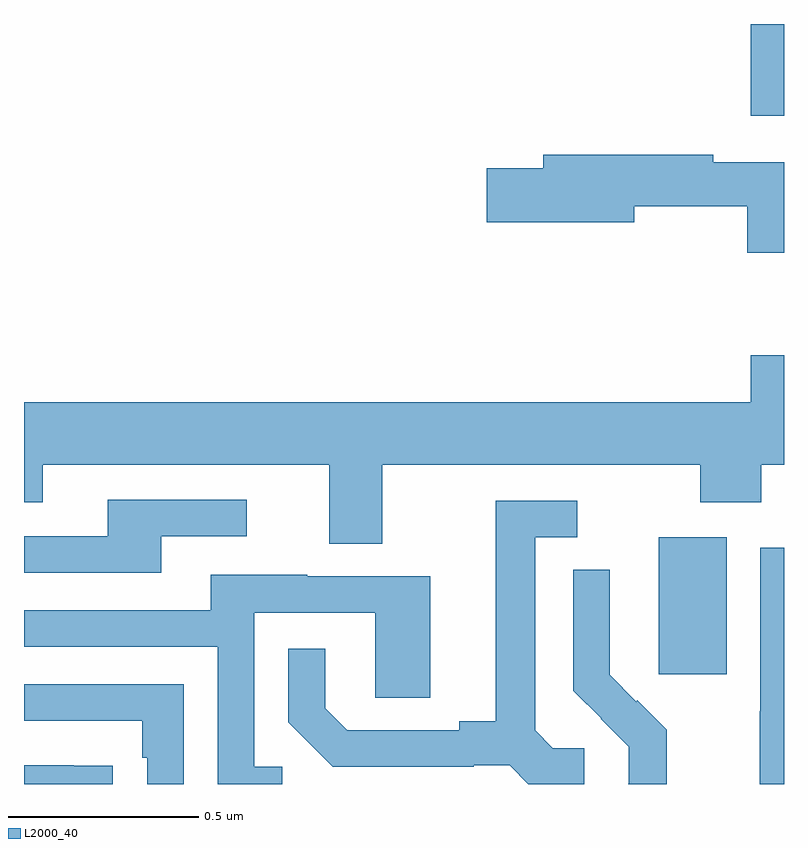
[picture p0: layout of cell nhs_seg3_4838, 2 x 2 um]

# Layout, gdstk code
import gdstk
lib = gdstk.Library(unit=1e-6, precision=1e-09)
def R(c, l, rs):  # rectangles x0, y0, x1, y1
    for r in rs: c.add(gdstk.rectangle(r[:2], r[2:], *l))
def P(c, l, *ps):  # polygons
    for p in ps: c.add(gdstk.Polygon(p, *l))
L2000_40 = (2000, 40)

nhs_seg3_4838 = lib.new_cell('nhs_seg3_4838')
R(nhs_seg3_4838, L2000_40, [(172.67,709.689,172.849,710.05), (172.913,711.158,173,711.4)])
P(nhs_seg3_4838, L2000_40, [(173,711.036),(172.814,711.036),(172.814,711.056),(172.367,711.056),(172.367,711.02),(172.218,711.02),(172.218,710.878),(172.606,710.878),(172.606,710.92),(172.903,710.92),(172.903,710.798),(173,710.798)],
  [(171,710.141),(171.049,710.141),(171.049,710.24),(171.803,710.24),(171.803,710.032),(171.943,710.032),(171.943,710.24),(172.78,710.24),(172.78,710.141),(172.94,710.141),(172.94,710.24),(173,710.24),(173,710.528),(172.913,710.528),(172.913,710.404),(171,710.404)],
  [(171.361,710.052),(171.586,710.052),(171.586,710.148),(171.221,710.148),(171.221,710.052),(171,710.052),(171,709.956),(171.361,709.956)],
  [(172.474,709.494),(172.392,709.494),(172.345,709.541),(172.345,710.049),(172.456,710.049),(172.456,710.145),(172.241,710.145),(172.241,709.565),(172.145,709.565),(172.145,709.542),(171.85,709.542),(171.793,709.599),(171.793,709.756),(171.696,709.756),(171.696,709.562),(171.812,709.446),(172.184,709.446),(172.184,709.449),(172.278,709.449),(172.327,709.4),(172.474,709.4)],
  [(173,710.022),(172.938,710.022),(172.938,709.592),(172.936,709.592),(172.936,709.4),(173,709.4)],
  [(172.691,709.543),(172.614,709.62),(172.611,709.617),(172.541,709.688),(172.541,709.81),(172.542,709.81),(172.542,709.964),(172.446,709.964),(172.446,709.646),(172.519,709.573),(172.518,709.572),(172.592,709.498),(172.592,709.401),(172.59,709.401),(172.59,709.4),(172.691,709.4)],
  [(171.679,709.446),(171.606,709.446),(171.606,709.851),(171.924,709.851),(171.924,709.627),(172.069,709.627),(172.069,709.947),(171.745,709.947),(171.745,709.951),(171.491,709.951),(171.491,709.857),(171,709.857),(171,709.761),(171.51,709.761),(171.51,709.4),(171.679,709.4)],
  [(171.42,709.662),(171,709.662),(171,709.566),(171.311,709.566),(171.311,709.469),(171.324,709.469),(171.324,709.4),(171.42,709.4)],
  [(171.233,709.448),(171.131,709.448),(171.131,709.449),(171,709.449),(171,709.4),(171.233,709.4)])

lib.write_gds('nhs_seg3_4838.gds')
